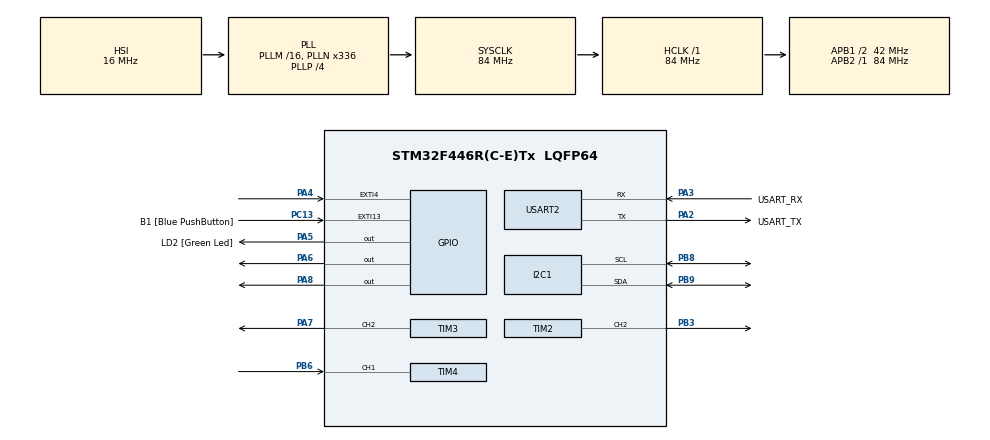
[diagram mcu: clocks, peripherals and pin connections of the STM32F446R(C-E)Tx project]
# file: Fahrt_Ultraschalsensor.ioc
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Mcu.Family=STM32F4
Mcu.Name=STM32F446R(C-E)Tx
Mcu.Package=LQFP64
NVIC.EXTI4_IRQn=true\:0\:0\:false\:false\:true\:true\:true\:true
NVIC.PriorityGroup=NVIC_PRIORITYGROUP_0
NVIC.TIM1_UP_TIM10_IRQn=true\:0\:0\:false\:false\:true\:true\:true\:true
NVIC.TIM4_IRQn=true\:0\:0\:false\:false\:true\:true\:true\:true
NVIC.TIM6_DAC_IRQn=true\:0\:0\:false\:false\:true\:true\:true\:true
NVIC.TIM7_IRQn=true\:0\:0\:false\:false\:true\:true\:true\:true
PA13.GPIO_Label=TMS
PA13.Mode=Serial_Wire
PA13.Signal=SYS_JTMS-SWDIO
PA14.GPIO_Label=TCK
PA14.Mode=Serial_Wire
PA14.Signal=SYS_JTCK-SWCLK
PA2.GPIO_Label=USART_TX
PA2.Mode=Asynchronous
PA2.Signal=USART2_TX
PA3.GPIO_Label=USART_RX
PA3.Mode=Asynchronous
PA3.Signal=USART2_RX
PA4.Signal=GPXTI4
PA5.GPIO_Label=LD2 [Green Led]
PA5.Signal=GPIO_Output
PA6.Signal=GPIO_Output
PA7.Signal=S_TIM3_CH2
PA8.Signal=GPIO_Output
PB3.Signal=S_TIM2_CH2
PB6.Signal=S_TIM4_CH1
PB8.Mode=I2C
PB8.Signal=I2C1_SCL
PB9.Mode=I2C
PB9.Signal=I2C1_SDA
PC13.GPIO_Label=B1 [Blue PushButton]
PC13.GPIO_ModeDefaultEXTI=GPIO_MODE_IT_FALLING
PC13.Signal=GPXTI13
PC14-OSC32_IN.Mode=LSE-External-Oscillator
PC14-OSC32_IN.Signal=RCC_OSC32_IN
PC15-OSC32_OUT.Mode=LSE-External-Oscillator
PC15-OSC32_OUT.Signal=RCC_OSC32_OUT
PH0-OSC_IN.Mode=HSE-External-Oscillator
PH0-OSC_IN.Signal=RCC_OSC_IN
PH1-OSC_OUT.Mode=HSE-External-Oscillator
PH1-OSC_OUT.Signal=RCC_OSC_OUT
ProjectManager.HeapSize=0x200
ProjectManager.StackSize=0x400
ProjectManager.TargetToolchain=STM32CubeIDE
RCC.48MHZClocksFreq_Value=84000000
RCC.AHBFreq_Value=84000000
RCC.APB1CLKDivider=RCC_HCLK_DIV2
RCC.APB1Freq_Value=42000000
RCC.APB1TimFreq_Value=84000000
RCC.APB2Freq_Value=84000000
RCC.APB2TimFreq_Value=84000000
RCC.CortexFreq_Value=84000000
RCC.FLatency-AdvancedSettings=FLASH_LATENCY_2
RCC.HCLKFreq_Value=84000000
RCC.HSE_VALUE=8000000
RCC.HSI_VALUE=16000000
RCC.PLLN=336
RCC.PLLP=RCC_PLLP_DIV4
RCC.SYSCLKFreq_VALUE=84000000
RCC.SYSCLKSource=RCC_SYSCLKSOURCE_PLLCLK
RCC.USBFreq_Value=168000000
RCC.VCOOutputFreq_Value=336000000
SH.S_TIM2_CH2.0=TIM2_CH2,PWM Generation2 CH2
SH.S_TIM3_CH2.0=TIM3_CH2,PWM Generation2 CH2
SH.S_TIM4_CH1.0=TIM4_CH1,Input_Capture1_from_TI1
TIM10.Period=65535
TIM10.Prescaler=83
TIM2.Channel-PWM\ Generation2\ CH2=TIM_CHANNEL_2
TIM2.Period=255
TIM3.Channel-PWM\ Generation2\ CH2=TIM_CHANNEL_2
TIM3.Period=255
TIM4.Channel-Input_Capture1_from_TI1=TIM_CHANNEL_1
TIM4.Prescaler=83
TIM6.Period=900
TIM7.Prescaler=3844
USART2.VirtualMode=VM_ASYNC
VP_TIM10_VS_ClockSourceINT.Mode=Enable_Timer
VP_TIM6_VS_ClockSourceINT.Mode=Enable_Timer
VP_TIM7_VS_ClockSourceINT.Mode=Enable_Timer
board=NUCLEO-F446RE

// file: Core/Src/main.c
/* USER CODE BEGIN Header */
/**
 ******************************************************************************
 * @file           : main.c
 * @brief          : Main program body
 ******************************************************************************
 * @attention
 *
 * Copyright (c) 2025 STMicroelectronics.
 * All rights reserved.
 *
 * This software is licensed under terms that can be found in the LICENSE file
 * in the root directory of this software component.
 * If no LICENSE file comes with this software, it is provided AS-IS.
 *
 ******************************************************************************
 */
/* USER CODE END Header */
#include "main.h"

/* USER CODE BEGIN Includes */
#include "bno055.h"
#include <math.h>
#include <stdio.h>
#include <stdbool.h>
/* USER CODE END Includes */

I2C_HandleTypeDef hi2c1;

TIM_HandleTypeDef htim2;
TIM_HandleTypeDef htim3;
TIM_HandleTypeDef htim4;
TIM_HandleTypeDef htim6;
TIM_HandleTypeDef htim7;
TIM_HandleTypeDef htim10;

UART_HandleTypeDef huart2;

void SystemClock_Config(void);
static void MX_GPIO_Init(void);
static void MX_USART2_UART_Init(void);
static void MX_TIM2_Init(void);
static void MX_TIM3_Init(void);
static void MX_TIM4_Init(void);
static void MX_TIM6_Init(void);
static void MX_I2C1_Init(void);
static void MX_TIM7_Init(void);
static void MX_TIM10_Init(void);

/* USER CODE BEGIN 0 */

IMU_Handle_t imu_handle;
float target_winkel = 0;
int speedlinks = 150;
int speedrechts = 150;

volatile uint8_t state_ausweichung = RECHTS;
volatile int state = GERADEAUS;
volatile int sensorstate = MESSUNG;
volatile uint32_t echo_time = 0;
volatile int measure_state = 0;
volatile bool timeout_ausweichung = false;
volatile bool timeout_measure = false;

void geradeausfahrt(float *diff);
void ausweichmanoever(float *diff);
void messung();

/* USER CODE END 0 */

int main(void) {

	/* MCU Configuration--------------------------------------------------------*/

	/* Reset of all peripherals, Initializes the Flash interface and the Systick. */
	HAL_Init();

	/* Configure the system clock */
	SystemClock_Config();

	/* Initialize all configured peripherals */
	MX_GPIO_Init();
	MX_USART2_UART_Init();
	MX_TIM2_Init();
	MX_TIM3_Init();
	MX_TIM4_Init();
	MX_TIM6_Init();
	MX_I2C1_Init();
	MX_TIM7_Init();
	MX_TIM10_Init();
	/* USER CODE BEGIN 2 */
	imu_handle.i2c_connect.i2c_handle = &hi2c1;
	imu_handle.i2c_connect.i2c_address = 40;
	imu_handle.activation_pin.GPIOx = GPIOA;
	imu_handle.activation_pin.GPIO_Pin = GPIO_PIN_8;
	// ToDo: Testen Sie Ihr Programm im IMU und im NDOF-Modus.
	//       Testen Sie außerdem verschiedene Einheiteneinstellungen:
	// 		 - Euler-Winkel: Degree und Rad
	//       - Temperatur: Celsius und Fahrenheit

	//imu_handle.imu_config.temp_value=TEMP_UNIT_CELSIUS;
	imu_handle.imu_config.euler_value = EULER_UNIT_DEGREES;
	imu_handle.imu_config.mode_value = BNO055_FUSION_IMU_MODE;

	bno055_init(&imu_handle);

	HAL_TIM_PWM_Start(&htim3, TIM_CHANNEL_2);
	HAL_TIM_PWM_Start(&htim2, TIM_CHANNEL_2);

	HAL_GPIO_WritePin(GPIOA, GPIO_PIN_5, GPIO_PIN_SET);

	__HAL_TIM_SET_COMPARE(&htim3, TIM_CHANNEL_2, speedlinks);
	__HAL_TIM_SET_COMPARE(&htim2, TIM_CHANNEL_2, speedrechts);

	HAL_TIM_Base_Start_IT(&htim10);
	/* USER CODE END 2 */

	/* Infinite loop */
	while (1) {

		/* USER CODE BEGIN 3 */
		float heading = bno055_getHeading(&imu_handle);
		float diff = target_winkel - heading;
		if (diff < 0.0f)
			diff += 360.0f;
		if (diff > 360.0f)
			diff -= 360.0f;

		if (sensorstate == MESSUNG) {
			messung();
		}

		if (state == GERADEAUS) {
			geradeausfahrt(&diff);
		} else if (state == AUSWEICHMANOEVER) {
			if (state_ausweichung == LINKS && !*(&timeout_ausweichung)) {
				geradeausfahrt(&diff);
			} else {
				ausweichmanoever(&diff);
			}
		}
	}
	/* USER CODE END 3 */
}

void SystemClock_Config(void) {
	RCC_OscInitTypeDef RCC_OscInitStruct = { 0 };
	RCC_ClkInitTypeDef RCC_ClkInitStruct = { 0 };

	/** Configure the main internal regulator output voltage
	 */
	__HAL_RCC_PWR_CLK_ENABLE();
	__HAL_PWR_VOLTAGESCALING_CONFIG(PWR_REGULATOR_VOLTAGE_SCALE3);

	/** Initializes the RCC Oscillators according to the specified parameters
	 * in the RCC_OscInitTypeDef structure.
	 */
	RCC_OscInitStruct.OscillatorType = RCC_OSCILLATORTYPE_HSI;
	RCC_OscInitStruct.HSIState = RCC_HSI_ON;
	RCC_OscInitStruct.HSICalibrationValue = RCC_HSICALIBRATION_DEFAULT;
	RCC_OscInitStruct.PLL.PLLState = RCC_PLL_ON;
	RCC_OscInitStruct.PLL.PLLSource = RCC_PLLSOURCE_HSI;
	RCC_OscInitStruct.PLL.PLLM = 16;
	RCC_OscInitStruct.PLL.PLLN = 336;
	RCC_OscInitStruct.PLL.PLLP = RCC_PLLP_DIV4;
	RCC_OscInitStruct.PLL.PLLQ = 2;
	RCC_OscInitStruct.PLL.PLLR = 2;
	if (HAL_RCC_OscConfig(&RCC_OscInitStruct) != HAL_OK) {
		Error_Handler();
	}

	/** Initializes the CPU, AHB and APB buses clocks
	 */
	RCC_ClkInitStruct.ClockType = RCC_CLOCKTYPE_HCLK | RCC_CLOCKTYPE_SYSCLK
			| RCC_CLOCKTYPE_PCLK1 | RCC_CLOCKTYPE_PCLK2;
	RCC_ClkInitStruct.SYSCLKSource = RCC_SYSCLKSOURCE_PLLCLK;
	RCC_ClkInitStruct.AHBCLKDivider = RCC_SYSCLK_DIV1;
	RCC_ClkInitStruct.APB1CLKDivider = RCC_HCLK_DIV2;
	RCC_ClkInitStruct.APB2CLKDivider = RCC_HCLK_DIV1;

	if (HAL_RCC_ClockConfig(&RCC_ClkInitStruct, FLASH_LATENCY_2) != HAL_OK) {
		Error_Handler();
	}
}

static void MX_I2C1_Init(void) {

	hi2c1.Instance = I2C1;
	hi2c1.Init.ClockSpeed = 100000;
	hi2c1.Init.DutyCycle = I2C_DUTYCYCLE_2;
	hi2c1.Init.OwnAddress1 = 0;
	hi2c1.Init.AddressingMode = I2C_ADDRESSINGMODE_7BIT;
	hi2c1.Init.DualAddressMode = I2C_DUALADDRESS_DISABLE;
	hi2c1.Init.OwnAddress2 = 0;
	hi2c1.Init.GeneralCallMode = I2C_GENERALCALL_DISABLE;
	hi2c1.Init.NoStretchMode = I2C_NOSTRETCH_DISABLE;
	if (HAL_I2C_Init(&hi2c1) != HAL_OK) {
		Error_Handler();
	}

}

static void MX_TIM2_Init(void) {

	TIM_MasterConfigTypeDef sMasterConfig = { 0 };
	TIM_OC_InitTypeDef sConfigOC = { 0 };

	htim2.Instance = TIM2;
	htim2.Init.Prescaler = 0;
	htim2.Init.CounterMode = TIM_COUNTERMODE_UP;
	htim2.Init.Period = 255;
	htim2.Init.ClockDivision = TIM_CLOCKDIVISION_DIV1;
	htim2.Init.AutoReloadPreload = TIM_AUTORELOAD_PRELOAD_DISABLE;
	if (HAL_TIM_PWM_Init(&htim2) != HAL_OK) {
		Error_Handler();
	}
	sMasterConfig.MasterOutputTrigger = TIM_TRGO_RESET;
	sMasterConfig.MasterSlaveMode = TIM_MASTERSLAVEMODE_DISABLE;
	if (HAL_TIMEx_MasterConfigSynchronization(&htim2, &sMasterConfig)
			!= HAL_OK) {
		Error_Handler();
	}
	sConfigOC.OCMode = TIM_OCMODE_PWM1;
	sConfigOC.Pulse = 0;
	sConfigOC.OCPolarity = TIM_OCPOLARITY_HIGH;
	sConfigOC.OCFastMode = TIM_OCFAST_DISABLE;
	if (HAL_TIM_PWM_ConfigChannel(&htim2, &sConfigOC, TIM_CHANNEL_2)
			!= HAL_OK) {
		Error_Handler();
	}
	HAL_TIM_MspPostInit(&htim2);

}

static void MX_TIM3_Init(void) {

	TIM_MasterConfigTypeDef sMasterConfig = { 0 };
	TIM_OC_InitTypeDef sConfigOC = { 0 };

	htim3.Instance = TIM3;
	htim3.Init.Prescaler = 0;
	htim3.Init.CounterMode = TIM_COUNTERMODE_UP;
	htim3.Init.Period = 255;
	htim3.Init.ClockDivision = TIM_CLOCKDIVISION_DIV1;
	htim3.Init.AutoReloadPreload = TIM_AUTORELOAD_PRELOAD_DISABLE;
	if (HAL_TIM_PWM_Init(&htim3) != HAL_OK) {
		Error_Handler();
	}
	sMasterConfig.MasterOutputTrigger = TIM_TRGO_RESET;
	sMasterConfig.MasterSlaveMode = TIM_MASTERSLAVEMODE_DISABLE;
	if (HAL_TIMEx_MasterConfigSynchronization(&htim3, &sMasterConfig)
			!= HAL_OK) {
		Error_Handler();
	}
	sConfigOC.OCMode = TIM_OCMODE_PWM1;
	sConfigOC.Pulse = 0;
	sConfigOC.OCPolarity = TIM_OCPOLARITY_HIGH;
	sConfigOC.OCFastMode = TIM_OCFAST_DISABLE;
	if (HAL_TIM_PWM_ConfigChannel(&htim3, &sConfigOC, TIM_CHANNEL_2)
			!= HAL_OK) {
		Error_Handler();
	}
	HAL_TIM_MspPostInit(&htim3);

}

static void MX_TIM4_Init(void) {

	TIM_MasterConfigTypeDef sMasterConfig = { 0 };
	TIM_IC_InitTypeDef sConfigIC = { 0 };

	htim4.Instance = TIM4;
	htim4.Init.Prescaler = 83;
	htim4.Init.CounterMode = TIM_COUNTERMODE_UP;
	htim4.Init.Period = 65535;
	htim4.Init.ClockDivision = TIM_CLOCKDIVISION_DIV1;
	htim4.Init.AutoReloadPreload = TIM_AUTORELOAD_PRELOAD_DISABLE;
	if (HAL_TIM_IC_Init(&htim4) != HAL_OK) {
		Error_Handler();
	}
	sMasterConfig.MasterOutputTrigger = TIM_TRGO_RESET;
	sMasterConfig.MasterSlaveMode = TIM_MASTERSLAVEMODE_DISABLE;
	if (HAL_TIMEx_MasterConfigSynchronization(&htim4, &sMasterConfig)
			!= HAL_OK) {
		Error_Handler();
	}
	sConfigIC.ICPolarity = TIM_INPUTCHANNELPOLARITY_RISING;
	sConfigIC.ICSelection = TIM_ICSELECTION_DIRECTTI;
	sConfigIC.ICPrescaler = TIM_ICPSC_DIV1;
	sConfigIC.ICFilter = 0;
	if (HAL_TIM_IC_ConfigChannel(&htim4, &sConfigIC, TIM_CHANNEL_1) != HAL_OK) {
		Error_Handler();
	}

}

static void MX_TIM6_Init(void) {

	TIM_MasterConfigTypeDef sMasterConfig = { 0 };

	htim6.Instance = TIM6;
	htim6.Init.Prescaler = 0;
	htim6.Init.CounterMode = TIM_COUNTERMODE_UP;
	htim6.Init.Period = 900;
	htim6.Init.AutoReloadPreload = TIM_AUTORELOAD_PRELOAD_DISABLE;
	if (HAL_TIM_Base_Init(&htim6) != HAL_OK) {
		Error_Handler();
	}
	sMasterConfig.MasterOutputTrigger = TIM_TRGO_RESET;
	sMasterConfig.MasterSlaveMode = TIM_MASTERSLAVEMODE_DISABLE;
	if (HAL_TIMEx_MasterConfigSynchronization(&htim6, &sMasterConfig)
			!= HAL_OK) {
		Error_Handler();
	}

}

static void MX_TIM7_Init(void) {

	TIM_MasterConfigTypeDef sMasterConfig = { 0 };

	htim7.Instance = TIM7;
	htim7.Init.Prescaler = 8399;
	htim7.Init.CounterMode = TIM_COUNTERMODE_UP;
	htim7.Init.Period = 29999;
	htim7.Init.AutoReloadPreload = TIM_AUTORELOAD_PRELOAD_DISABLE;
	if (HAL_TIM_Base_Init(&htim7) != HAL_OK) {
		Error_Handler();
	}
	sMasterConfig.MasterOutputTrigger = TIM_TRGO_RESET;
	sMasterConfig.MasterSlaveMode = TIM_MASTERSLAVEMODE_DISABLE;
	if (HAL_TIMEx_MasterConfigSynchronization(&htim7, &sMasterConfig)
			!= HAL_OK) {
		Error_Handler();
	}

}

static void MX_TIM10_Init(void) {

	htim10.Instance = TIM10;
	htim10.Init.Prescaler = 83;
	htim10.Init.CounterMode = TIM_COUNTERMODE_UP;
	htim10.Init.Period = 9999;
	htim10.Init.ClockDivision = TIM_CLOCKDIVISION_DIV1;
	if (HAL_TIM_Base_Init(&htim10) != HAL_OK) {
		Error_Handler();
	}

}

static void MX_USART2_UART_Init(void) {

	huart2.Instance = USART2;
	huart2.Init.BaudRate = 115200;
	huart2.Init.WordLength = UART_WORDLENGTH_8B;
	huart2.Init.StopBits = UART_STOPBITS_1;
	huart2.Init.Parity = UART_PARITY_NONE;
	huart2.Init.Mode = UART_MODE_TX_RX;
	huart2.Init.HwFlowCtl = UART_HWCONTROL_NONE;
	huart2.Init.OverSampling = UART_OVERSAMPLING_16;
	if (HAL_UART_Init(&huart2) != HAL_OK) {
		Error_Handler();
	}

}

static void MX_GPIO_Init(void) {
	GPIO_InitTypeDef GPIO_InitStruct = { 0 };

	/* GPIO Ports Clock Enable */
	__HAL_RCC_GPIOC_CLK_ENABLE();
	__HAL_RCC_GPIOH_CLK_ENABLE();
	__HAL_RCC_GPIOA_CLK_ENABLE();
	__HAL_RCC_GPIOB_CLK_ENABLE();

	/*Configure GPIO pin Output Level */
	HAL_GPIO_WritePin(GPIOA, LD2_Pin | GPIO_PIN_6 | GPIO_PIN_8, GPIO_PIN_RESET);

	/*Configure GPIO pin : B1_Pin */
	GPIO_InitStruct.Pin = B1_Pin;
	GPIO_InitStruct.Mode = GPIO_MODE_IT_FALLING;
	GPIO_InitStruct.Pull = GPIO_NOPULL;
	HAL_GPIO_Init(B1_GPIO_Port, &GPIO_InitStruct);

	/*Configure GPIO pin : PA4 */
	GPIO_InitStruct.Pin = GPIO_PIN_4;
	GPIO_InitStruct.Mode = GPIO_MODE_IT_RISING_FALLING;
	GPIO_InitStruct.Pull = GPIO_NOPULL;
	HAL_GPIO_Init(GPIOA, &GPIO_InitStruct);

	/*Configure GPIO pins : LD2_Pin PA6 PA8 */
	GPIO_InitStruct.Pin = LD2_Pin | GPIO_PIN_6 | GPIO_PIN_8;
	GPIO_InitStruct.Mode = GPIO_MODE_OUTPUT_PP;
	GPIO_InitStruct.Pull = GPIO_NOPULL;
	GPIO_InitStruct.Speed = GPIO_SPEED_FREQ_LOW;
	HAL_GPIO_Init(GPIOA, &GPIO_InitStruct);

	/* EXTI interrupt init*/
	HAL_NVIC_SetPriority(EXTI4_IRQn, 0, 0);
	HAL_NVIC_EnableIRQ(EXTI4_IRQn);

}

/* USER CODE BEGIN 4 */

void geradeausfahrt(float *diff) {
//state 1  die Fehler links und muss korregiert werden indem die rechte Motor langsamer wird
	if ((*diff) >= 5.0f && (*diff) <= 180) {
		speedrechts = speedrechts * KFR;
		__HAL_TIM_SET_COMPARE(&htim2, TIM_CHANNEL_2, speedrechts);
	}
	//state 2 die die Buggy am Kurs aber die rechte Motor muss seine volle Speed zurückbekomme,sonst wird abweichung rechts.
	else if (speedrechts + 18 <= 150) {
		speedrechts += 18;
		__HAL_TIM_SET_COMPARE(&htim2, TIM_CHANNEL_2, speedrechts);
	}
	//state 3  die Fehler rechts und muss korregiert werden indem die linke Motor langsamer wird
	else if ((*diff) >= 180.f && (*diff) <= 349) { // die zweite Teil von dem Kreis rechtes
		speedlinks = speedlinks * KFL;
		__HAL_TIM_SET_COMPARE(&htim3, TIM_CHANNEL_2, speedlinks);

	}
	//state 4 die die Buggy am Kurs aber die linke Motor muss seine volle Speed zurückbekommen,sonst wird abweichung links.
	else if (speedlinks + 15 <= 150) {
		speedlinks += 15;
		__HAL_TIM_SET_COMPARE(&htim3, TIM_CHANNEL_2, speedlinks);
	}

}

void ausweichmanoever(float *diff) {
	static int index = 0;
	float ZW[] = { 0.0f, 90.0f, 180.0f, 270.0f };

	if (state_ausweichung == RECHTS) {
		if ((*diff) > 270.0f) {
			// Rechts drehen
			__HAL_TIM_SET_COMPARE(&htim2, TIM_CHANNEL_2, 0);
			__HAL_TIM_SET_COMPARE(&htim3, TIM_CHANNEL_2, 150);
		} else {
			// Zielwinkel erreicht - Timer 7 für 3s Geradeausfahrt starten
			index = (index + 1) % 4;
			target_winkel = ZW[(index)];
			// Timer 7 Flag zurücksetzen
			*(&timeout_ausweichung) = false;
			// Timer 7 für 3s starten
			HAL_TIM_Base_Start_IT(&htim7);
			state_ausweichung = LINKS;
			__HAL_TIM_SET_COMPARE(&htim2, TIM_CHANNEL_2, speedrechts);
			__HAL_TIM_SET_COMPARE(&htim3, TIM_CHANNEL_2, speedlinks);
			return;
		}
	} else if (state_ausweichung == LINKS) {
		// Timer 7 Flag prüfen - wenn true, dann 3s abgelaufen

		if ((*diff) < 90) {
			// Links drehen
			__HAL_TIM_SET_COMPARE(&htim2, TIM_CHANNEL_2, 150);
			__HAL_TIM_SET_COMPARE(&htim3, TIM_CHANNEL_2, 0);
		} else {
			// Zielwinkel erreicht
			index = 4 % index;
			target_winkel = ZW[(index)];
			state = GERADEAUS;
			sensorstate = MESSUNG;
			state_ausweichung = RECHTS;
			// Flag zurücksetzen
			//timeout_ausweichung = false;
			// 3s Geradeausfahrt beendet, jetzt weiter im Ablauf
			__HAL_TIM_SET_COMPARE(&htim2, TIM_CHANNEL_2, speedrechts);
			__HAL_TIM_SET_COMPARE(&htim3, TIM_CHANNEL_2, speedlinks);
		}
	}
}
void messung() {
	// Timer 10 Flag prüfen (alle 10ms)

	if (*(&timeout_measure)) {
		*(&timeout_measure) = false;
		HAL_GPIO_WritePin(GPIOA, GPIO_PIN_6, GPIO_PIN_SET);
		HAL_TIM_Base_Start_IT(&htim6);
	}

	if (measure_state == MEASUREMENT_DONE) {
		float distance = (echo_time * 0.0343f) * 0.5f;

		if (distance <= 10.0f) {
			// Hindernis erkannt
			__HAL_TIM_SET_COMPARE(&htim2, TIM_CHANNEL_2, 0);
			__HAL_TIM_SET_COMPARE(&htim3, TIM_CHANNEL_2, 0);

			state = AUSWEICHMANOEVER;
			sensorstate = MESSUNG_AUS;
			state_ausweichung = RECHTS;
			measure_state = 0;
			return;

		} else {
			// Kein Hindernis
			state = GERADEAUS;
		}

		measure_state = 0;
	}

	sensorstate = MESSUNG;
}

void HAL_GPIO_EXTI_Callback(uint16_t GPIO_Pin) {
	if (GPIO_Pin == GPIO_PIN_4) {
		if (HAL_GPIO_ReadPin(GPIOA, GPIO_PIN_4) == GPIO_PIN_SET) {
			// Rising edge - start measurement
			__HAL_TIM_SET_COUNTER(&htim4, 0);
			HAL_TIM_Base_Start(&htim4);  // Start timer without interrupts
		} else if (HAL_GPIO_ReadPin(GPIOA, GPIO_PIN_4) == 0) {
			// Falling edge - stop measurement
			echo_time = __HAL_TIM_GET_COUNTER(&htim4);
			// Stop timer
			HAL_TIM_Base_Stop(&htim4);

			measure_state = MEASUREMENT_DONE;
		}
	}
}

/* USER CODE END 4 */

void Error_Handler(void) {
	__disable_irq();
	while (1) {
	}
}
